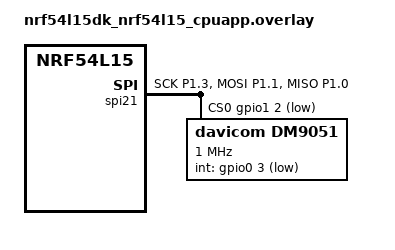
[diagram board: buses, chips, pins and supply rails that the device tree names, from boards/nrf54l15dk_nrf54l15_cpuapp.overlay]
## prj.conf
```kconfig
CONFIG_NET_TCP=y

CONFIG_NET_DHCPV4=y
CONFIG_NET_DHCPV4_OPTION_CALLBACKS=y
CONFIG_DNS_RESOLVER=y

# HTTP Parser
CONFIG_HTTP_PARSER=y
CONFIG_HTTP_PARSER_URL=y

# Connection Manager
CONFIG_NET_CONNECTION_MANAGER=y

# Sockets
CONFIG_NET_SOCKETS=y

CONFIG_INIT_STACKS=y

CONFIG_NET_MGMT=y
CONFIG_NET_MGMT_EVENT=y
#CONFIG_NET_MGMT_EVENT_INFO=y

# Enable POSIX API for socket functions
# CONFIG_NET_SOCKETS_POSIX_NAMES is deprecated, use CONFIG_POSIX_API instead
CONFIG_POSIX_API=y

# Enable the UART driver (nRF54L15 uses UART20, not UART0)
#CONFIG_NET_LOG=y
CONFIG_LOG=y

CONFIG_NET_SHELL=y

# Config logger
#CONFIG_USE_SEGGER_RTT=n
#CONFIG_LOG_BACKEND_RTT=n

# Increase network connection contexts to support more simultaneous connections
CONFIG_NET_MAX_CONN=16

# Increase maximum concurrent clients (balance between functionality and RAM usage)
CONFIG_HTTP_SERVER_SAMPLE_CLIENTS_MAX=2

# Increase thread stack size to prevent stack overflow
CONFIG_HTTP_SERVER_SAMPLE_STACK_SIZE=8192
```

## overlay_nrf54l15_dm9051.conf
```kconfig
#
# Copyright (c) 2025 Davicom Semiconductor Inc
#
# SPDX-License
#

# --- Basic Network Configuration ---
CONFIG_NET_L2_ETHERNET=y

# Increase the network buffer data size to accommodate a full MTU packet
# This prevents fragmentation for large packets and avoids the "Uncontiguous data cannot be linearized" error
CONFIG_NET_BUF_DATA_SIZE=2048

# --- Resource Allocation for Large Packets ---
# Explicitly enable IPv4 fragment reassembly
CONFIG_NET_IPV4_FRAGMENT=y

# DM9051 Ethernet controller driver
CONFIG_ETH_DM9051=y

# SPI support (DM9051 uses SPI interface)
CONFIG_SPI=y
# GPIO support (DM9051 uses GPIO interfaces)
CONFIG_GPIO=y

# TCP/IP extra
# (temp NO tcp)
# (temp NO sockets)
#(CONFIG_NET_TCP=y)
#(CONFIG_NET_SOCKETS=y)
#(CONFIG_NET_SOCKETS_POSIX_NAMES=y)

# Enable the UART driver (nRF54L15 uses UART20, not UART0)

#CONFIG_NET_LOG=y
#CONFIG_LOG=y

#  CONFIG_SERIAL=y
# USART printf support (UART console backend for logging)
#  CONFIG_CONSOLE=y
#  CONFIG_UART_CONSOLE=y
CONFIG_LOG_BACKEND_UART=y
# ensure printk available
#  CONFIG_PRINTK=y

# Shell
CONFIG_SHELL_LOG_BACKEND=n

# ensure use nrf54l15 INTERNAL CLOCK
CONFIG_CLOCK_CONTROL_NRF_K32SRC_RC=y

# Increase network connection contexts to support more simultaneous connections
CONFIG_NET_MAX_CONN=16

# Increase maximum concurrent clients (balance between functionality and RAM usage)
CONFIG_HTTP_SERVER_SAMPLE_CLIENTS_MAX=2

# Increase thread stack size to prevent stack overflow
CONFIG_HTTP_SERVER_SAMPLE_STACK_SIZE=8192
```

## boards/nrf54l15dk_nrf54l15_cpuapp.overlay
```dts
/*
 * Copyright (c) 2025 Nordic Semiconductor ASA
 *
 * SPDX-License-Identifier: LicenseRef-Nordic-5-Clause
 */

&rram_controller {
	/delete-node/ cpuflpr_sram;
	/delete-node/ cpuflpr_rram;
};

/* Adjust the cpuapp_sram to include the freed up cpuflpr_sram */
&cpuapp_sram {
	reg = <0x20000000 DT_SIZE_K(256)>;
	ranges = <0x0 0x20000000 0x20040000>;
};

/* Adjust the cpuapp_rram to include the freed up cpuflpr_rram */
&cpuapp_rram {
	reg = <0x0 DT_SIZE_K(1524)>;
};


/* Ensure GPIO0, GPIO1 and their GPIOTE instances are enabled */
&gpio0 {
	status = "okay";
};

&gpio1 {
	status = "okay";
};

&gpiote30 {
	status = "okay";
};

&gpiote20 {
	status = "okay";
};

&pinctrl {
	spi21_default: spi21_default {
		group1 {
			psels = <NRF_PSEL(SPIM_SCK, 1, 3)>,
				<NRF_PSEL(SPIM_MOSI, 1, 1)>,
				<NRF_PSEL(SPIM_MISO, 1, 0)>;
		};
	};

	spi21_sleep: spi21_sleep {
		group1 {
			psels = <NRF_PSEL(SPIM_SCK, 1, 3)>,
				<NRF_PSEL(SPIM_MOSI, 1, 1)>,
				<NRF_PSEL(SPIM_MISO, 1, 0)>;
			low-power-enable;
		};
	};
};

&spi21 {
	status = "okay";
	clocks = <&hfpll>;
	cs-gpios = <&gpio1 2 GPIO_ACTIVE_LOW>;  /* CS on P1.2 */
	pinctrl-0 = <&spi21_default>;
	pinctrl-1 = <&spi21_sleep>;
	pinctrl-names = "default", "sleep";
	
	dm9051: dm9051@0 {
		compatible = "davicom,dm9051";
		reg = <0>;
		spi-max-frequency = <1000000>;  /* 1MHz - minimum for debugging */
		int-gpios = <&gpio0 3 GPIO_ACTIVE_LOW>;
		
		/* Local MAC address */
		local-mac-address = [00 00 00 00 00 00]; /* [00 11 22 33 44 55]; */
	};
};

/* Disable NFCT to free up NFC pins for GPIO usage */
&nfct {
	status = "disabled";
};

/* Configure UICR to use NFCT pins as GPIOs */
&uicr {
	nfct-pins-as-gpios;
};
```

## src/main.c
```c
/*
 * Copyright (c) 2019 Intel Corporation
 * Copyright (c) 2024 Nordic Semiconductor ASA
 *
 * SPDX-License-Identifier: Apache-2.0
 */

#include <stdio.h>
#include <string.h>
#include <errno.h>
#include <stdlib.h>

#include <zephyr/kernel.h>
#include <zephyr/logging/log.h>
#include <zephyr/logging/log_ctrl.h>
#include <zephyr/net/net_ip.h>
#include <zephyr/net/dns_sd.h>
#include <zephyr/net/socket.h>
#include <zephyr/sys/reboot.h>

#include <zephyr/net/net_config.h>
#include <zephyr/net/net_mgmt.h>
#include <zephyr/net/net_event.h>
#include <zephyr/net/conn_mgr_monitor.h>
#include <zephyr/net/conn_mgr_connectivity.h>
#include <zephyr/net/dhcpv4.h>

#include <zephyr/net/http/client.h>
#include <zephyr/net/http/parser.h>

#if defined(CONFIG_DK_LIBRARY)
#include <dk_buttons_and_leds.h>
#endif /* defined(CONFIG_DK_LIBRARY) */

#if defined(CONFIG_POSIX_API)
#include <zephyr/posix/arpa/inet.h>
#include <zephyr/posix/netdb.h>
#include <zephyr/posix/unistd.h>
#include <zephyr/posix/sys/socket.h>
#endif

#include "credentials_provision.h"

LOG_MODULE_REGISTER(http_server, CONFIG_HTTP_SERVER_SAMPLE_LOG_LEVEL);

#define SERVER_PORT			CONFIG_HTTP_SERVER_SAMPLE_PORT
#define MAX_CLIENT_QUEUE		CONFIG_HTTP_SERVER_SAMPLE_CLIENTS_MAX
#define STACK_SIZE			CONFIG_HTTP_SERVER_SAMPLE_STACK_SIZE
#define THREAD_PRIORITY			K_PRIO_COOP(CONFIG_NUM_COOP_PRIORITIES - 1)

/* Macro used to subscribe to specific Zephyr NET management events. */
#define L4_EVENT_MASK (NET_EVENT_L4_CONNECTED | NET_EVENT_L4_DISCONNECTED)
#define CONN_LAYER_EVENT_MASK (NET_EVENT_CONN_IF_FATAL_ERROR)

/* Macro called upon a fatal error, reboots the device. */
#define FATAL_ERROR()								\
	LOG_ERR("Fatal error!%s", IS_ENABLED(CONFIG_RESET_ON_FATAL_ERROR) ?	\
				  " Rebooting the device" : "");		\
	LOG_PANIC();								\
	IF_ENABLED(CONFIG_REBOOT, (sys_reboot(0)))

#if defined(CONFIG_NET_HOSTNAME)
/* Register service */
DNS_SD_REGISTER_TCP_SERVICE(http_server_sd, CONFIG_NET_HOSTNAME, "_http", "local",
			    DNS_SD_EMPTY_TXT, SERVER_PORT);
#endif /* CONFIG_NET_HOSTNAME */

/* Zephyr NET management event callback structures. */
static struct net_mgmt_event_callback l4_cb;
static struct net_mgmt_event_callback conn_cb;
#if defined(CONFIG_NET_IPV4)
static struct net_mgmt_event_callback ipv4_cb;
#endif /* defined(CONFIG_NET_IPV4) */

struct http_req {
	struct http_parser parser;
	int socket;
	bool received_all;
	enum http_method method;
	const char *url;
	size_t url_len;
	const char *body;
	size_t body_len;
};

/* Forward declarations */
static void process_tcp4(void);
static void process_tcp6(void);

/* Keep track of the current LED states. 0 = LED OFF, 1 = LED ON.
 * Index 0 corresponds to LED1, index 1 to LED2.
 */
static uint8_t led_states[2];

/* HTTP responses for demonstration */
#define RESPONSE_200 "HTTP/1.1 200 OK\r\n"
#define RESPONSE_400 "HTTP/1.1 400 Bad Request\r\n\r\n"
#define RESPONSE_403 "HTTP/1.1 403 Forbidden\r\n\r\n"
#define RESPONSE_404 "HTTP/1.1 404 Not Found\r\n\r\n"
#define RESPONSE_405 "HTTP/1.1 405 Method Not Allowed\r\n\r\n"
#define RESPONSE_500 "HTTP/1.1 500 Internal Server Error\r\n\r\n"

/* Processing threads for incoming connections */
K_THREAD_STACK_ARRAY_DEFINE(tcp4_handler_stack, MAX_CLIENT_QUEUE, STACK_SIZE);
static struct k_thread tcp4_handler_thread[MAX_CLIENT_QUEUE];
static k_tid_t tcp4_handler_tid[MAX_CLIENT_QUEUE];
K_THREAD_DEFINE(tcp4_thread_id, STACK_SIZE,
		process_tcp4, NULL, NULL, NULL,
		THREAD_PRIORITY, 0, -1);

K_THREAD_STACK_ARRAY_DEFINE(tcp6_handler_stack, MAX_CLIENT_QUEUE, STACK_SIZE);
static struct k_thread tcp6_handler_thread[MAX_CLIENT_QUEUE];
static k_tid_t tcp6_handler_tid[MAX_CLIENT_QUEUE];
K_THREAD_DEFINE(tcp6_thread_id, STACK_SIZE,
		process_tcp6, NULL, NULL, NULL,
		THREAD_PRIORITY, 0, -1);

static K_SEM_DEFINE(network_connected_sem, 0, 1);
static K_SEM_DEFINE(ipv6_setup_sem, 0, 1);

static int tcp4_sock;
static int tcp4_accepted[MAX_CLIENT_QUEUE];
static int tcp6_sock;
static int tcp6_accepted[MAX_CLIENT_QUEUE];

static struct http_parser_settings parser_settings;

static void l4_event_handler(struct net_mgmt_event_callback *cb,
			     uint32_t event,
			     struct net_if *iface)
{
	switch (event) {
	case NET_EVENT_L4_CONNECTED:
		LOG_INF("Network connected");

		k_sem_give(&network_connected_sem);
		break;
	case NET_EVENT_L4_DISCONNECTED:
		LOG_INF("Network disconnected");
		break;
	default:
		/* Don't care */
		return;
	}
}

static void connectivity_event_handler(struct net_mgmt_event_callback *cb,
				       uint32_t event,
				       struct net_if *iface)
{
	if (event == NET_EVENT_CONN_IF_FATAL_ERROR) {
		LOG_ERR("NET_EVENT_CONN_IF_FATAL_ERROR");
		FATAL_ERROR();
		return;
	}
}

#if defined(CONFIG_NET_IPV4)
static void dhcpv4_bound_event_handler(struct net_mgmt_event_callback *cb,
				      uint32_t event,
				      struct net_if *iface)
{
	if (event != NET_EVENT_IPV4_DHCP_BOUND) {
		return;
	}

	const struct net_if_dhcpv4 *dhcpv4 = cb->info;
	char addr[NET_IPV4_ADDR_LEN];
	char subnet[NET_IPV4_ADDR_LEN];
	char router[NET_IPV4_ADDR_LEN];

	if (!net_addr_ntop(AF_INET, &dhcpv4->requested_ip, addr, sizeof(addr)) ||
	    !net_addr_ntop(AF_INET, &dhcpv4->netmask, subnet, sizeof(subnet)) ||
	    !net_addr_ntop(AF_INET, &dhcpv4->server_id, router, sizeof(router))) {
		LOG_WRN("Failed to format DHCPv4 info");
		return;
	}

	LOG_INF("IP Address[1]: %s", addr);
	LOG_INF("Net Subnet[1]: %s", subnet);
	LOG_INF("Net Router[1]: %s", router);
}
#endif /* defined(CONFIG_NET_IPV4) */

#if 1
static void start_dhcpv4_client(struct net_if *iface, void *user_data)
{
	ARG_UNUSED(user_data);

	LOG_INF("DHCPC Start on %s (index=%d)", net_if_get_device(iface)->name,
		net_if_get_by_iface(iface));
	net_dhcpv4_start(iface);
}
#endif

/* Update the LED states. Returns 0 if it was updated, otherwise -1. */
static int led_update(uint8_t index, uint8_t state)
{
	if (state <= 1) {
		led_states[index] = state;
	} else {
		LOG_WRN("Illegal value %d written to LED %d", state, index);
		return -EBADMSG;
	}

#if defined(CONFIG_DK_LIBRARY)
	int ret;

	ret = dk_set_led(index, led_states[index]);
	if (ret) {
		LOG_ERR("Failed to update LED %d state to %d", index, led_states[index]);
		FATAL_ERROR();
		return -EIO;
	}
#endif /* defined(CONFIG_DK_LIBRARY) */

	LOG_INF("LED %d state updated to %d", index, led_states[index]);

	return 0;
}

/* Copy the HTTP request URL into a null-terminated buffer. */
static int request_url_to_cstr(const struct http_req *request, char *dst, size_t dst_size)
{
	if (request->url_len + 1 > dst_size) {
		LOG_WRN("URL too long (%d)", (int)request->url_len);
		return -ENOBUFS;
	}

	memcpy(dst, request->url, request->url_len);
	dst[request->url_len] = '\0';

	return 0;
}

/* Copy the HTTP request body into a null-terminated buffer. */
static int request_body_to_cstr(const struct http_req *request, char *dst, size_t dst_size)
{
	if (request->body_len + 1 > dst_size) {
		LOG_WRN("Body too long (%d)", (int)request->body_len);
		return -ENOBUFS;
	}

	memcpy(dst, request->body, request->body_len);
	dst[request->body_len] = '\0';

	return 0;
}

static int handle_put(struct http_req *request, char *response, size_t response_size)
{
	int ret;
	uint8_t led_id, led_index;
	char url[64];
	char body[8];

	if (request->body_len < 1) {
		LOG_ERR("No request body");
		return -EBADMSG;
	}

	ret = request_url_to_cstr(request, url, sizeof(url));
	if (ret) {
		return ret;
	}

	ret = request_body_to_cstr(request, body, sizeof(body));
	if (ret) {
		return ret;
	}

	/* Get LED ID */
	ret = sscanf(url, "/led/%hhu", &led_id);
	if (ret != 1) {
		LOG_WRN("Invalid URL: %s", url);
		return -EINVAL;
	}

	/* Get LED Index */
	if (led_id < 1 || led_id > 2) {
		LOG_ERR("Invalid LED ID: %d, valid values are 1 and 2", led_id);
		return -EINVAL;
	}

	led_index = led_id - 1;

	ret = led_update(led_index, (uint8_t)strtol(body, NULL, 10));
	if (ret) {
		LOG_WRN("Update failed for LED %d", led_index);
		return ret;
	}

	ret = snprintk(response, response_size, "%sContent-Length: %d\r\n\r\n",
		       RESPONSE_200, 0);
	if ((ret < 0) || (ret >= response_size)) {
		return -ENOBUFS;
	}

	return 0;
}

static int handle_get(struct http_req *request, char *response, size_t response_size)
{
	int ret;
	char body[1024];
	uint8_t led_id, led_index;
	char url[128];

	ret = request_url_to_cstr(request, url, sizeof(url));
	if (ret) {
		return ret;
	}

	/* Handle root path - return HTML guide page */
	if (strcmp(url, "/") == 0) {
		ret = snprintk(body, sizeof(body),
			       "<!DOCTYPE html><html><head><title>nRF54 HTTP Server</title>"
			       "<link rel=\"icon\" href=\"data:image/svg+xml,"
			       "<svg xmlns='http://www.w3.org/2000/svg' viewBox='0 0 100 100'>"
			       "<text y='.9em' font-size='90'>&#128161;</text></svg>\">"
			       "</head>"
			       "<body><h1>nRF HTTP Server</h1>"
			       "<p>LED 1: %d | LED 2: %d</p>"
			       "<h3>API:</h3>"
			       "<ul><li>GET /led/1 or /led/2</li>"
			       "<li>PUT /led/1 or /led/2 (body: 0/1)</li></ul>"
			       "</body></html>",
			       led_states[0], led_states[1]);
		if ((ret < 0) || (ret >= sizeof(body))) {
			return -ENOBUFS;
		}

		ret = snprintk(response, response_size,
			       "%sContent-Type: text/html\r\nContent-Length: %d\r\n\r\n%s",
			       RESPONSE_200, strlen(body), body);
		if ((ret < 0) || (ret >= response_size)) {
			return -ENOBUFS;
		}
		return 0;
	}

	/* Handle favicon and browser icon requests with 204 No Content */
	if (strncmp(url, "/favicon.ico", 12) == 0 ||
	    strncmp(url, "/apple-touch-icon", 17) == 0) {
		ret = snprintk(response, response_size,
			       "HTTP/1.1 204 No Content\r\n\r\n");
		if ((ret < 0) || (ret >= response_size)) {
			return -ENOBUFS;
		}
		return 0;
	}

	/* Get LED ID */
	ret = sscanf(url, "/led/%hhu", &led_id);
	if (ret != 1) {
		LOG_WRN("Invalid URL: %s", url);
		return -EINVAL;
	}

	/* Get LED Index */
	if (led_id < 1 || led_id > 2) {
		LOG_ERR("Invalid LED ID: %d, valid values are 1 and 2", led_id);
		return -EINVAL;
	}

	led_index = led_id - 1;

	ret = snprintk(body, sizeof(body), "%d", led_states[led_index]);
	if ((ret < 0) || (ret >= sizeof(body))) {
		return -ENOBUFS;
	}

	ret = snprintk(response, response_size,
		       "%sContent-Type: text/plain\r\nContent-Length: %d\r\n\r\n%s",
		       RESPONSE_200, strlen(body), body);
	if ((ret < 0) || (ret >= response_size)) {
		return -ENOBUFS;
	}

	return 0;
}

static int send_response(struct http_req *request, char *response)
{
	ssize_t out_len;
	size_t len = strlen(response);

	while (len) {
		out_len = send(request->socket, response, len, 0);
		if (out_len < 0) {
			LOG_ERR("send, error: %d", -errno);
			return -errno;
		}

		len -= out_len;
	}

	return 0;
}

/* Handle HTTP request */
static void handle_http_request(struct http_req *request)
{
	int ret;
	char *resp_ptr = RESPONSE_200;
	char get_response_buffer[1536] = { 0 };

	/* Handle the request method */
	switch (request->method) {
	case HTTP_PUT:
		ret = handle_put(request, get_response_buffer, sizeof(get_response_buffer));
		if (ret) {
			LOG_WRN("Incoming HTTP PUT request, error: %d", ret);
			resp_ptr = (ret == -EINVAL) ? RESPONSE_404 :
				   (ret == -EBADMSG) ? RESPONSE_400 : RESPONSE_500;
			break;
		}

		resp_ptr = get_response_buffer;
		break;
	case HTTP_GET:
		ret = handle_get(request, get_response_buffer, sizeof(get_response_buffer));
		if (ret) {
			if (ret != -EINVAL) {
				LOG_WRN("Incoming HTTP GET request, error: %d", ret);
			} else {
				LOG_DBG("Incoming HTTP GET request, returning 404");
			}
			resp_ptr = (ret == -EINVAL) ? RESPONSE_404 : RESPONSE_500;
			break;
		}

		resp_ptr = get_response_buffer;
		break;
	default:
		LOG_WRN("Unsupported request method");
		resp_ptr = RESPONSE_405;
		break;
	}

	/* Send response */
	ret = send_response(request, resp_ptr);
	if (ret) {
		LOG_ERR("send_response, error: %d", ret);
		FATAL_ERROR();
		return;
	}
}

/* HTTP parser callbacks */
static int on_body(struct http_parser *parser, const char *at, size_t length)
{
	struct http_req *req = CONTAINER_OF(parser, struct http_req, parser);

	req->body = at;
	req->body_len = length;

	LOG_DBG("on_body: %d", parser->method);
	LOG_DBG("> %.*s", length, at);

	return 0;
}

static int on_headers_complete(struct http_parser *parser)
{
	struct http_req *req = CONTAINER_OF(parser, struct http_req, parser);

	req->method = parser->method;

	LOG_DBG("on_headers_complete, method: %s", http_method_str(parser->method));

	return 0;
}

static int on_message_begin(struct http_parser *parser)
{
	struct http_req *req = CONTAINER_OF(parser, struct http_req, parser);

	req->received_all = false;

	LOG_DBG("on_message_begin, method: %d", parser->method);

	return 0;
}

static int on_message_complete(struct http_parser *parser)
{
	struct http_req *req = CONTAINER_OF(parser, struct http_req, parser);

	req->received_all = true;

	LOG_DBG("on_message_complete, method: %d", parser->method);

	return 0;
}

static int on_url(struct http_parser *parser, const char *at, size_t length)
{
	struct http_req *req = CONTAINER_OF(parser, struct http_req, parser);

	req->url = at;
	req->url_len = length;

	LOG_DBG("on_url, method: %d", parser->method);
	LOG_DBG("> %.*s", length, at);

	return 0;
}

/* Initialize HTTP parser. */
static void parser_init(void)
{
	http_parser_settings_init(&parser_settings);

	parser_settings.on_body = on_body;
	parser_settings.on_headers_complete = on_headers_complete;
	parser_settings.on_message_begin = on_message_begin;
	parser_settings.on_message_complete = on_message_complete;
	parser_settings.on_url = on_url;
}

static int setup_server(int *sock, struct sockaddr *bind_addr, socklen_t bind_addrlen)
{
	int ret;
	int enable = 1;

	if (IS_ENABLED(CONFIG_NET_SOCKETS_SOCKOPT_TLS)) {
		/* Run the Zephyr Native TLS stack (MBed TLS) in the application core instead of
		 * using the TLS stack on the modem.
		 * This is needed because the modem does not support TLS in server mode.
		 *
		 * This is done by using (SOCK_STREAM | SOCK_NATIVE_TLS) as socket type when
		 * building for a nRF91 Series board.
		 */
		int type = IS_ENABLED(CONFIG_NRF_MODEM_LIB) ? SOCK_STREAM | SOCK_NATIVE_TLS :
							      SOCK_STREAM;

		*sock = socket(bind_addr->sa_family, type, IPPROTO_TLS_1_2);
	} else {
		*sock = socket(bind_addr->sa_family, SOCK_STREAM, IPPROTO_TCP);
	}

	if (*sock < 0) {
		LOG_ERR("Failed to create socket: %d", -errno);
		return -errno;
	}

	if (IS_ENABLED(CONFIG_NET_SOCKETS_SOCKOPT_TLS)) {
		sec_tag_t sec_tag_list[] = {
			CONFIG_HTTP_SERVER_SAMPLE_SERVER_CERTIFICATE_SEC_TAG,
		};

		ret = setsockopt(*sock, SOL_TLS, TLS_SEC_TAG_LIST,
				 sec_tag_list, sizeof(sec_tag_list));
		if (ret < 0) {
			LOG_ERR("Failed to set security tag list %d", -errno);
			return -errno;
		}

		if (IS_ENABLED(CONFIG_HTTP_SERVER_SAMPLE_PEER_VERIFICATION_REQUIRE)) {
			int require = 2;

			ret = zsock_setsockopt(*sock, SOL_TLS, TLS_PEER_VERIFY,
					       &require,
					       sizeof(require));
			if (ret < 0) {
				LOG_ERR("Failed to set peer verification option %d", -errno);
				return -errno;
			}
		}
	}

	ret = setsockopt(*sock, SOL_SOCKET, SO_REUSEADDR, &enable, sizeof(enable));
	if (ret) {
		LOG_ERR("Failed to set SO_REUSEADDR %d", -errno);
		return -errno;
	}

	ret = bind(*sock, bind_addr, bind_addrlen);
	if (ret < 0) {
		LOG_ERR("Failed to bind socket %d", -errno);
		return -errno;
	}

	ret = listen(*sock, MAX_CLIENT_QUEUE);
	if (ret < 0) {
		LOG_ERR("Failed to listen on socket %d", -errno);
		return -errno;
	}

	return ret;
}

static void client_conn_handler(void *ptr1, void *ptr2, void *ptr3)
{
	ARG_UNUSED(ptr1);
	int *sock = ptr2;
	k_tid_t *in_use = ptr3;
	int received;
	int ret;
	char buf[CONFIG_HTTP_SERVER_SAMPLE_RECEIVE_BUFFER_SIZE];
	size_t offset = 0;
	size_t total_received = 0;
	struct http_req request = {
		.socket = *sock,
	};

	http_parser_init(&request.parser, HTTP_REQUEST);

	while (true) {
		received = recv(request.socket, buf + offset, sizeof(buf) - offset, 0);
		if (received == 0) {
			/* Connection closed */
			LOG_DBG("[%d] Connection closed by peer", request.socket);
			break;
		} else if (received < 0) {
			/* Socket error */
			ret = -errno;
			LOG_ERR("[%d] Connection error %d", request.socket, ret);
			break;
		}

		/* Parse the received data as HTTP request */
		(void)http_parser_execute(&request.parser,
					  &parser_settings, buf + offset, received);

		total_received += received;
		offset += received;

		if (offset >= sizeof(buf)) {
			offset = 0;
		}

		/* If the HTTP request has been completely received, stop receiving data and
		 * proceed to process the request.
		 */
		if (request.received_all) {
			handle_http_request(&request);
			break;
		}
	};

	(void)close(request.socket);

	*sock = -1;
	*in_use = NULL;
	
	LOG_DBG("Client connection handler finished");
}

static int get_free_slot(int *accepted)
{
	for (int i = 0; i < MAX_CLIENT_QUEUE; i++) {
		if (accepted[i] < 0) {
			return i;
		}
	}

	return -1;
}

static void process_tcp(sa_family_t family, int *sock, int *accepted)
{
	int client;
	int slot;
	struct sockaddr_in6 client_addr;
	socklen_t client_addr_len = sizeof(client_addr);
	char addr_str[INET6_ADDRSTRLEN];

	client = accept(*sock, (struct sockaddr *)&client_addr,
			&client_addr_len);
	if (client < 0) {
		LOG_ERR("Error in accept %d, try again", -errno);
		return;
	}

	slot = get_free_slot(accepted);
	if (slot < 0 || slot >= MAX_CLIENT_QUEUE) {
		LOG_ERR("Cannot accept more connections");
		close(client);
		return;
	}

	accepted[slot] = client;

	if (family == AF_INET6) {
		/* Abort previous thread if it exists and hasn't been cleaned up */
		if (tcp6_handler_tid[slot] != NULL) {
			k_thread_abort(tcp6_handler_tid[slot]);
		}
		
		tcp6_handler_tid[slot] = k_thread_create(
			&tcp6_handler_thread[slot],
			tcp6_handler_stack[slot],
			K_THREAD_STACK_SIZEOF(tcp6_handler_stack[slot]),
			(k_thread_entry_t)client_conn_handler,
			INT_TO_POINTER(slot),
			&accepted[slot],
			&tcp6_handler_tid[slot],
			THREAD_PRIORITY,
			0, K_NO_WAIT);
	} else if (family == AF_INET) {
		/* Abort previous thread if it exists and hasn't been cleaned up */
		if (tcp4_handler_tid[slot] != NULL) {
			k_thread_abort(tcp4_handler_tid[slot]);
		}
		
		tcp4_handler_tid[slot] = k_thread_create(
			&tcp4_handler_thread[slot],
			tcp4_handler_stack[slot],
			K_THREAD_STACK_SIZEOF(tcp4_handler_stack[slot]),
			(k_thread_entry_t)client_conn_handler,
			INT_TO_POINTER(slot),
			&accepted[slot],
			&tcp4_handler_tid[slot],
			THREAD_PRIORITY,
			0, K_NO_WAIT);
	}

	net_addr_ntop(client_addr.sin6_family, &client_addr.sin6_addr, addr_str, sizeof(addr_str));

	LOG_INF("[%d] Connection from %s accepted", client, addr_str);
}

/* Processing incoming IPv4 clients */
static void process_tcp4(void)
{
	int ret;
	struct sockaddr_in addr4 = {
		.sin_family = AF_INET,
		.sin_port = htons(SERVER_PORT),
	};

	ret = setup_server(&tcp4_sock, (struct sockaddr *)&addr4, sizeof(addr4));
	if (ret < 0) {
		LOG_ERR("Failed to create IPv4 socket %d", ret);
		return;
	}

	LOG_INF("Waiting for IPv4 HTTP connections on port %d, sock %d", SERVER_PORT, tcp4_sock);

	while (true) {
		process_tcp(AF_INET, &tcp4_sock, tcp4_accepted);
	}
}

/* Processing incoming IPv6 clients */
static void process_tcp6(void)
{
	int ret;
	struct sockaddr_in6 addr6 = {
		.sin6_family = AF_INET6,
		.sin6_port = htons(SERVER_PORT),
	};

	ret = setup_server(&tcp6_sock, (struct sockaddr *)&addr6, sizeof(addr6));

	k_sem_give(&ipv6_setup_sem);

	if (ret < 0) {
		LOG_ERR("Failed to create IPv6 socket %d", ret);
		return;
	}

	LOG_INF("Waiting for IPv6 HTTP connections on port %d, sock %d",
		SERVER_PORT, tcp6_sock);

	while (true) {
		process_tcp(AF_INET6, &tcp6_sock, tcp6_accepted);
	}
}

void start_listener(void)
{
	for (size_t i = 0; i < MAX_CLIENT_QUEUE; i++) {
		if (IS_ENABLED(CONFIG_NET_IPV4)) {
			tcp4_accepted[i] = -1;
			tcp4_sock = -1;
		}

		if (IS_ENABLED(CONFIG_NET_IPV6)) {
			tcp6_accepted[i] = -1;
			tcp6_sock = -1;
		}
	}

	if (IS_ENABLED(CONFIG_NET_IPV6)) {
		k_thread_start(tcp6_thread_id);

		/* Wait for the thread that sets up the IPv6 sockets to complete
		 * before starting the IPv4 thread.
		 * This is to avoid an error when secure sockets
		 * for both IP families are created at the same time in two different threads.
		 */
		k_sem_take(&ipv6_setup_sem, K_FOREVER);
	}

	if (IS_ENABLED(CONFIG_NET_IPV4)) {
		k_thread_start(tcp4_thread_id);
	}
}

#define MAIN_BSACIC_COUNT 1000
int endc = 0;

int main(void)
{
	int ret;

	LOG_INF("HTTP Server sample started");

	if (IS_ENABLED(CONFIG_NET_SOCKETS_SOCKOPT_TLS)) {
		ret = credentials_provision();
		if (ret) {
			LOG_ERR("credentials_provision, error: %d", ret);
			FATAL_ERROR();
			return ret;
		}
	}

	parser_init();

#if defined(CONFIG_DK_LIBRARY)
	ret = dk_leds_init();
	if (ret) {
		LOG_ERR("dk_leds_init, error: %d", ret);
		FATAL_ERROR();
		return ret;
	}
#endif /* defined(CONFIG_DK_LIBRARY) */

	/* Setup handler for Zephyr NET Connection Manager events. */
	net_mgmt_init_event_callback(&l4_cb, l4_event_handler, L4_EVENT_MASK);
	net_mgmt_add_event_callback(&l4_cb);

	/* Setup handler for Zephyr NET Connection Manager Connectivity layer. */
	net_mgmt_init_event_callback(&conn_cb, connectivity_event_handler, CONN_LAYER_EVENT_MASK);
	net_mgmt_add_event_callback(&conn_cb);

#if defined(CONFIG_NET_IPV4)
	net_mgmt_init_event_callback(&ipv4_cb, dhcpv4_bound_event_handler,
				      NET_EVENT_IPV4_DHCP_BOUND);
	net_mgmt_add_event_callback(&ipv4_cb);
#endif /* defined(CONFIG_NET_IPV4) */

#if 1
	net_if_foreach(start_dhcpv4_client, NULL);
#endif

	ret = conn_mgr_all_if_up(true);
	if (ret) {
		LOG_ERR("conn_mgr_all_if_up, error: %d", ret);
		FATAL_ERROR();
		return ret;
	}

	LOG_INF("Network interface brought up");

	ret = conn_mgr_all_if_connect(true);
	if (ret) {
		LOG_ERR("conn_mgr_all_if_connect, error: %d", ret);
		FATAL_ERROR();
		return ret;
	}

	/* Resend connection status if the sample is built for NATIVE_SIM.
	 * This is necessary because the network interface is automatically brought up
	 * at SYS_INIT() before main() is called.
	 * This means that NET_EVENT_L4_CONNECTED fires before the
	 * appropriate handler l4_event_handler() is registered.
	 */
	if (IS_ENABLED(CONFIG_BOARD_NATIVE_SIM)) {
		conn_mgr_mon_resend_status();
	}

	k_sem_take(&network_connected_sem, K_FOREVER);

	start_listener();

	return 0;
}
```
